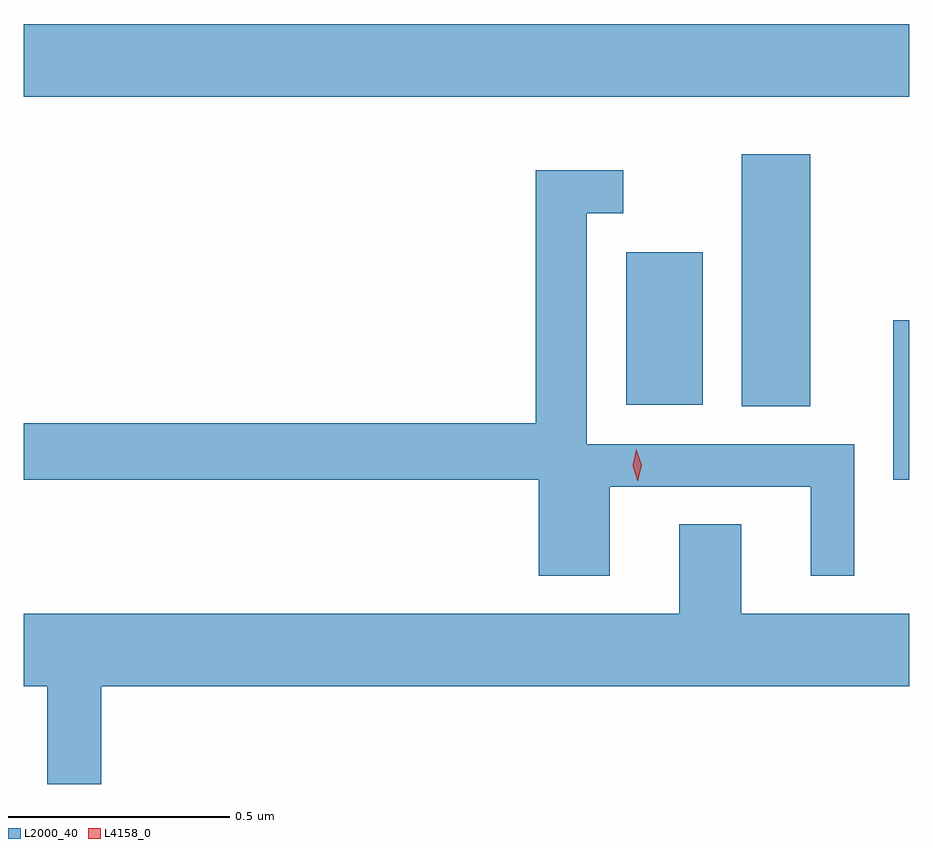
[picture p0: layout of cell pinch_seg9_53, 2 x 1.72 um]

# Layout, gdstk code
import gdstk
lib = gdstk.Library(unit=1e-6, precision=1e-09)
def R(c, l, rs):  # rectangles x0, y0, x1, y1
    for r in rs: c.add(gdstk.rectangle(r[:2], r[2:], *l))
def P(c, l, *ps):  # polygons
    for p in ps: c.add(gdstk.Polygon(p, *l))
L2000_40 = (2000, 40)
L4158_0 = (4158, 0)

pinch_seg9_53 = lib.new_cell('pinch_seg9_53')
R(pinch_seg9_53, L2000_40, [(916.73,1187.562,916.766,1187.923), (916.388,1187.728,916.543,1188.298), (916.127,1187.732,916.3,1188.076), (914.766,1188.428,916.766,1188.592)])
P(pinch_seg9_53, L2000_40, [(916.09,1187.547),(916.544,1187.547),(916.544,1187.346),(916.642,1187.346),(916.642,1187.643),(916.038,1187.643),(916.038,1188.165),(916.12,1188.165),(916.12,1188.262),(915.922,1188.262),(915.922,1187.69),(914.766,1187.69),(914.766,1187.562),(915.929,1187.562),(915.929,1187.346),(916.09,1187.346)],
  [(914.941,1187.096),(916.766,1187.096),(916.766,1187.26),(916.387,1187.26),(916.387,1187.462),(916.247,1187.462),(916.247,1187.26),(914.766,1187.26),(914.766,1187.096),(914.819,1187.096),(914.819,1186.875),(914.941,1186.875)])
P(pinch_seg9_53, L4158_0, [(916.153,1187.559),(916.153,1187.559),(916.142,1187.594),(916.15,1187.63),(916.15,1187.631),(916.15,1187.63),(916.162,1187.595),(916.153,1187.559)])

lib.write_gds('pinch_seg9_53.gds')
